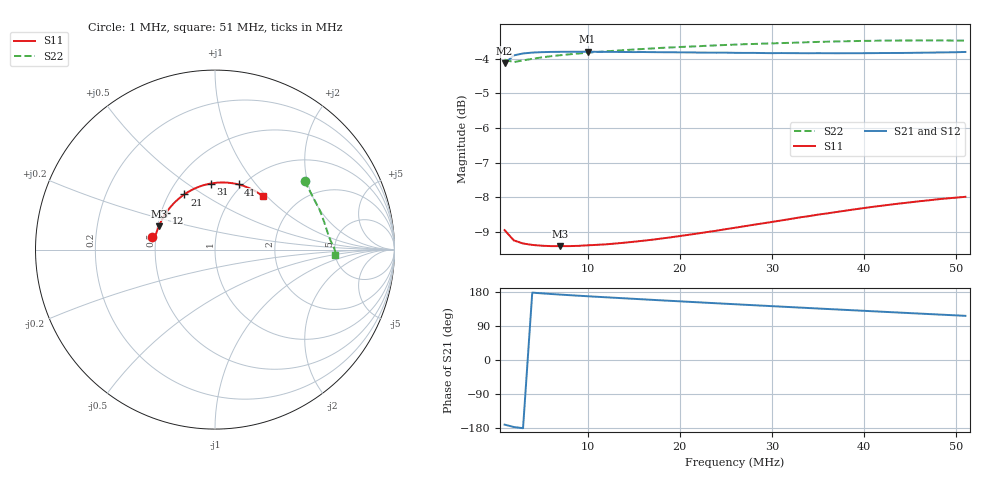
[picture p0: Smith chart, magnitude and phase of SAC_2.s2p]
# MHz S RI R 50
! S-Parameters data
! Freq  reS11  imS11  reS21  imS21  reS12  imS12  reS22  imS22
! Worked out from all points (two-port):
!   51 points, 1 MHz to 51 MHz, reference 50 ohm
!   highest |S21| = -3.80 dB at 10 MHz (marker M1); lowest = -4.1 dB at 1 MHz (marker M2)
!   |S21| within 3 dB of the highest: start of sweep to end of sweep
!   lowest |S11| = -9.4 dB at 7 MHz (marker M3), VSWR 2.02, Z = 25.4 + j7.52 ohm
!   |S11| at or under -10 dB: nowhere
!   |S22| runs from -4.1 to -3.5 dB; largest |S21 - S12| = 0.0021
!   S11 on the Smith chart (normalised r, x): 1 MHz: 0.48, +0.08; 12 MHz: 0.53, +0.24; 21 MHz: 0.60, +0.42; 31 MHz: 0.73, +0.62; 41 MHz: 0.96, +0.82; 51 MHz: 1.34, +0.95
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1  -0.3505 0.0691  -0.6128 -0.102  -0.6131 -0.103  0.499 0.3828
2  -0.3391 0.0651  -0.6369 -0.035  -0.6375 -0.0356  0.5849 0.2171
3  -0.3336 0.0743  -0.642 -0.000458  -0.6428 -0.000854  0.6081 0.1544
4  -0.3288 0.0871  -0.6433 0.0245  -0.6442 0.0244  0.6188 0.1214
5  -0.3238 0.1013  -0.6431 0.0456  -0.6441 0.0454  0.6255 0.101
6  -0.3183 0.116  -0.642 0.0647  -0.6429 0.0645  0.6301 0.0869
7  -0.3124 0.1309  -0.6402 0.0824  -0.6411 0.0823  0.6335 0.0766
10  -0.2911 0.1751  -0.6323 0.1312  -0.6331 0.1313  0.6411 0.0571
12  -0.2737 0.2031  -0.6248 0.1616  -0.6259 0.1617  0.6446 0.0486
15  -0.2437 0.2424  -0.6114 0.2053  -0.6125 0.2055  0.6492 0.0393
18  -0.2092 0.2773  -0.5953 0.2472  -0.5966 0.2472  0.6532 0.0315
21  -0.1709 0.3076  -0.5768 0.287  -0.5782 0.287  0.6562 0.0251
23  -0.1434 0.3248  -0.5629 0.3123  -0.5642 0.3124  0.6582 0.0213
26  -0.1 0.3459  -0.5404 0.3489  -0.5419 0.349  0.6609 0.0156
28  -0.07 0.3568  -0.5245 0.3723  -0.5257 0.3724  0.6624 0.0118
31  -0.0238 0.3681  -0.4986 0.4057  -0.5002 0.4061  0.6644 0.00641
35  0.0388 0.3741  -0.4614 0.4472  -0.4629 0.4479  0.667 -0.000763
38  0.0854 0.3714  -0.4318 0.4758  -0.4332 0.4766  0.6684 -0.00632
41  0.131 0.3631  -0.4006 0.5026  -0.4021 0.5034  0.6694 -0.012
43  0.1604 0.3544  -0.3793 0.5192  -0.3806 0.5203  0.6699 -0.0159
47  0.2163 0.3298  -0.3347 0.5499  -0.3361 0.5514  0.6698 -0.024
51  0.2669 0.2966  -0.2883 0.5771  -0.2894 0.5789  0.6691 -0.0322
